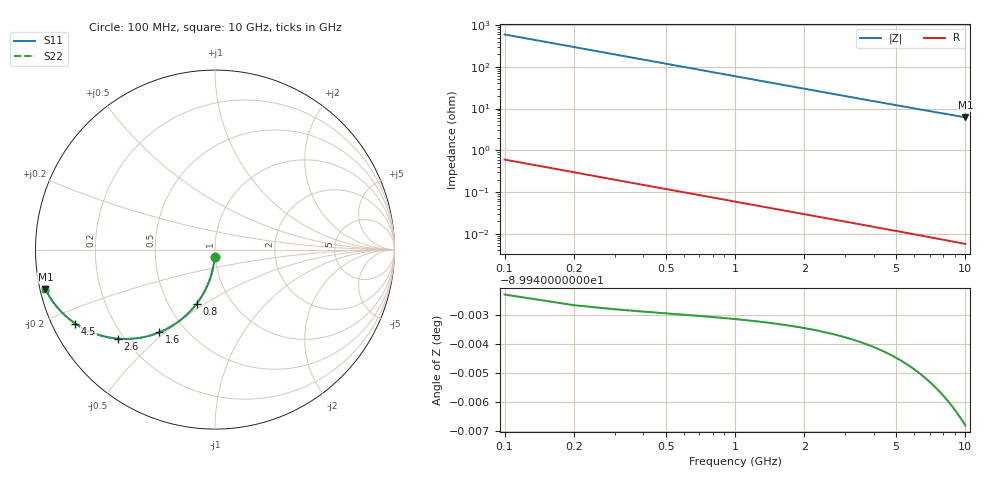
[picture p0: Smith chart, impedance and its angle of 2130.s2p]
# Hz S RI R 50.00
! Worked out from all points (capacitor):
!   100 points, 100 MHz to 10 GHz, reference 50 ohm
!   read as one part in shunt: C = 2.67 pF near 100 MHz
!   lowest |Z| = 6.17 ohm at 10 GHz (marker M1)
!   S11 on the Smith chart (normalised r, x): 100 MHz: 0.99, -0.08; 800 MHz: 0.69, -0.46; 1.6 GHz: 0.36, -0.48; 2.6 GHz: 0.18, -0.38; 4.5 GHz: 0.07, -0.25; 10 GHz: 0.02, -0.11
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1e8  -0.00178 -0.0418  0.9982 -0.0419  0.9982 -0.0419  -0.00178 -0.0418
2e8  -0.00705 -0.0831  0.9929 -0.0834  0.9929 -0.0834  -0.00705 -0.0831
3e8  -0.0157 -0.1236  0.9843 -0.124  0.9843 -0.124  -0.0157 -0.1236
4e8  -0.0275 -0.1628  0.9725 -0.1633  0.9725 -0.1633  -0.0275 -0.1628
5e8  -0.0423 -0.2004  0.9577 -0.201  0.9577 -0.201  -0.0423 -0.2004
6e8  -0.0597 -0.236  0.9403 -0.2368  0.9403 -0.2368  -0.0597 -0.236
8e8  -0.1013 -0.3007  0.8987 -0.3017  0.8987 -0.3017  -0.1013 -0.3007
1e9  -0.1495 -0.3555  0.8504 -0.3568  0.8504 -0.3568  -0.1495 -0.3555
1.2e9  -0.2019 -0.4001  0.7981 -0.4017  0.7981 -0.4017  -0.2019 -0.4001
1.6e9  -0.3098 -0.4609  0.6902 -0.4629  0.6902 -0.4629  -0.3098 -0.4609
1.8e9  -0.3621 -0.4789  0.6379 -0.4813  0.6379 -0.4813  -0.3621 -0.4789
2.2e9  -0.4584 -0.4964  0.5416 -0.4992  0.5416 -0.4992  -0.4584 -0.4964
2.6e9  -0.5413 -0.4961  0.4586 -0.4995  0.4586 -0.4995  -0.5413 -0.4961
3e9  -0.6107 -0.4851  0.3892 -0.489  0.3892 -0.489  -0.6107 -0.4851
3.4e9  -0.668 -0.4682  0.3319 -0.4726  0.3319 -0.4726  -0.668 -0.4682
3.9e9  -0.7255 -0.4432  0.2744 -0.4483  0.2744 -0.4483  -0.7255 -0.4432
4.5e9  -0.7784 -0.4119  0.2215 -0.4177  0.2215 -0.4177  -0.7784 -0.4119
5.1e9  -0.8184 -0.3817  0.1816 -0.3884  0.1816 -0.3884  -0.8184 -0.3817
5.8e9  -0.8533 -0.3494  0.1466 -0.357  0.1466 -0.357  -0.8533 -0.3494
6.7e9  -0.8858 -0.3131  0.1142 -0.322  0.1142 -0.322  -0.8858 -0.3131
8.4e9  -0.9241 -0.2586  0.0758 -0.2699  0.0758 -0.2699  -0.9241 -0.2586
1e10  -0.9452 -0.2201  0.0546 -0.2336  0.0546 -0.2336  -0.9452 -0.2201
